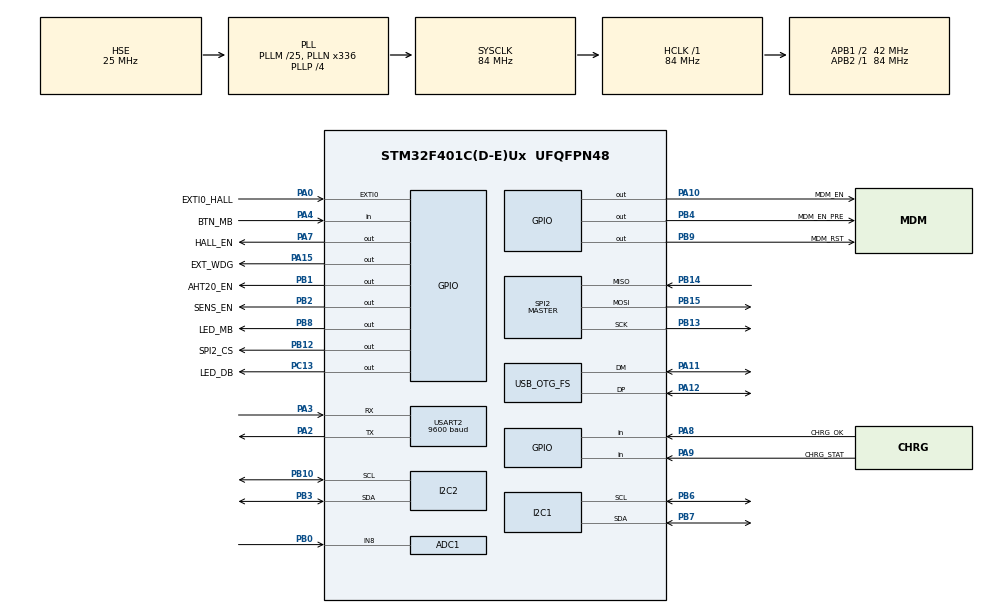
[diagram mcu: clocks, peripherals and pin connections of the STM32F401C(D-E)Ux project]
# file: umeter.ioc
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ADC1.Channel-0\#ChannelRegularConversion=ADC_CHANNEL_8
ADC1.NbrOfConversion=1
ADC1.NbrOfConversionFlag=1
ADC1.Rank-0\#ChannelRegularConversion=1
ADC1.SamplingTime-0\#ChannelRegularConversion=ADC_SAMPLETIME_3CYCLES
ADC1.master=1
Dma.Request0=USART2_RX
Dma.Request1=USART2_TX
Dma.USART2_RX.0.Direction=DMA_PERIPH_TO_MEMORY
Dma.USART2_RX.0.FIFOMode=DMA_FIFOMODE_DISABLE
Dma.USART2_RX.0.Instance=DMA1_Stream5
Dma.USART2_RX.0.MemDataAlignment=DMA_MDATAALIGN_BYTE
Dma.USART2_RX.0.MemInc=DMA_MINC_ENABLE
Dma.USART2_RX.0.Mode=DMA_NORMAL
Dma.USART2_RX.0.PeriphDataAlignment=DMA_PDATAALIGN_BYTE
Dma.USART2_RX.0.PeriphInc=DMA_PINC_DISABLE
Dma.USART2_RX.0.Priority=DMA_PRIORITY_LOW
Dma.USART2_TX.1.Direction=DMA_MEMORY_TO_PERIPH
Dma.USART2_TX.1.FIFOMode=DMA_FIFOMODE_DISABLE
Dma.USART2_TX.1.Instance=DMA1_Stream6
Dma.USART2_TX.1.MemDataAlignment=DMA_MDATAALIGN_BYTE
Dma.USART2_TX.1.MemInc=DMA_MINC_ENABLE
Dma.USART2_TX.1.Mode=DMA_NORMAL
Dma.USART2_TX.1.PeriphDataAlignment=DMA_PDATAALIGN_BYTE
Dma.USART2_TX.1.PeriphInc=DMA_PINC_DISABLE
Dma.USART2_TX.1.Priority=DMA_PRIORITY_LOW
FREERTOS.INCLUDE_xTaskGetHandle=1
FREERTOS.Tasks01=def,8,128,task_default,Default,NULL,Dynamic,NULL,NULL
FREERTOS.configMINIMAL_STACK_SIZE=64
FREERTOS.configRECORD_STACK_HIGH_ADDRESS=1
FREERTOS.configTOTAL_HEAP_SIZE=20480
FREERTOS.configUSE_NEWLIB_REENTRANT=1
IWDG.Prescaler=IWDG_PRESCALER_128
Mcu.Family=STM32F4
Mcu.Name=STM32F401C(D-E)Ux
Mcu.Package=UFQFPN48
NVIC.DMA1_Stream5_IRQn=true\:5\:0\:false\:false\:true\:true\:false\:true\:true
NVIC.DMA1_Stream6_IRQn=true\:5\:0\:false\:false\:true\:true\:false\:true\:true
NVIC.EXTI0_IRQn=true\:5\:0\:false\:false\:true\:true\:true\:true\:true
NVIC.OTG_FS_IRQn=true\:5\:0\:false\:false\:true\:true\:false\:true\:true
NVIC.PriorityGroup=NVIC_PRIORITYGROUP_4
NVIC.TIM1_UP_TIM10_IRQn=true\:15\:0\:false\:false\:true\:false\:false\:true\:true
NVIC.TimeBase=TIM1_UP_TIM10_IRQn
NVIC.TimeBaseIP=TIM1
NVIC.USART2_IRQn=true\:5\:0\:false\:false\:true\:true\:true\:true\:true
PA0-WKUP.GPIO_Label=EXTI0_HALL
PA0-WKUP.GPIO_ModeDefaultEXTI=GPIO_MODE_IT_FALLING
PA0-WKUP.Signal=GPXTI0
PA10.GPIO_Label=MDM_EN
PA10.Signal=GPIO_Output
PA11.Mode=Device_Only
PA11.Signal=USB_OTG_FS_DM
PA12.Mode=Device_Only
PA12.Signal=USB_OTG_FS_DP
PA13.Mode=Serial_Wire
PA13.Signal=SYS_JTMS-SWDIO
PA14.Mode=Serial_Wire
PA14.Signal=SYS_JTCK-SWCLK
PA15.GPIO_Label=EXT_WDG
PA15.Signal=GPIO_Output
PA2.Mode=Asynchronous
PA2.Signal=USART2_TX
PA3.Mode=Asynchronous
PA3.Signal=USART2_RX
PA4.GPIO_Label=BTN_MB
PA4.Signal=GPIO_Input
PA7.GPIO_Label=HALL_EN
PA7.Signal=GPIO_Output
PA8.GPIO_Label=CHRG_OK
PA8.Signal=GPIO_Input
PA9.GPIO_Label=CHRG_STAT
PA9.Signal=GPIO_Input
PB0.Signal=ADCx_IN8
PB1.GPIO_Label=AHT20_EN
PB1.Signal=GPIO_Output
PB10.Mode=I2C
PB10.Signal=I2C2_SCL
PB12.GPIO_Label=SPI2_CS
PB12.PinState=GPIO_PIN_SET
PB12.Signal=GPIO_Output
PB13.Mode=Full_Duplex_Master
PB13.Signal=SPI2_SCK
PB14.Mode=Full_Duplex_Master
PB14.Signal=SPI2_MISO
PB15.Mode=Full_Duplex_Master
PB15.Signal=SPI2_MOSI
PB2.GPIO_Label=SENS_EN
PB2.Signal=GPIO_Output
PB3.Mode=I2C
PB3.Signal=I2C2_SDA
PB4.GPIO_Label=MDM_EN_PRE
PB4.Signal=GPIO_Output
PB6.Mode=I2C
PB6.Signal=I2C1_SCL
PB7.Mode=I2C
PB7.Signal=I2C1_SDA
PB8.GPIO_Label=LED_MB
PB8.Signal=GPIO_Output
PB9.GPIO_Label=MDM_RST
PB9.Signal=GPIO_Output
PC13-ANTI_TAMP.GPIO_Label=LED_DB
PC13-ANTI_TAMP.Signal=GPIO_Output
PH0\ -\ OSC_IN.Mode=HSE-External-Oscillator
PH0\ -\ OSC_IN.Signal=RCC_OSC_IN
PH1\ -\ OSC_OUT.Mode=HSE-External-Oscillator
PH1\ -\ OSC_OUT.Signal=RCC_OSC_OUT
ProjectManager.HeapSize=0x1
ProjectManager.StackSize=0x1
ProjectManager.TargetToolchain=STM32CubeIDE
RCC.48MHZClocksFreq_Value=48000000
RCC.AHBFreq_Value=84000000
RCC.APB1CLKDivider=RCC_HCLK_DIV2
RCC.APB1Freq_Value=42000000
RCC.APB1TimFreq_Value=84000000
RCC.APB2Freq_Value=84000000
RCC.APB2TimFreq_Value=84000000
RCC.CortexFreq_Value=84000000
RCC.HCLKFreq_Value=84000000
RCC.HSE_VALUE=25000000
RCC.HSI_VALUE=16000000
RCC.LSE_VALUE=32768
RCC.PLLM=25
RCC.PLLN=336
RCC.PLLP=RCC_PLLP_DIV4
RCC.PLLQ=7
RCC.SYSCLKFreq_VALUE=84000000
RCC.SYSCLKSource=RCC_SYSCLKSOURCE_PLLCLK
RCC.VCOOutputFreq_Value=336000000
SH.ADCx_IN8.0=ADC1_IN8,IN8
SPI2.Direction=SPI_DIRECTION_2LINES
SPI2.Mode=SPI_MODE_MASTER
SPI2.VirtualType=VM_MASTER
USART2.BaudRate=9600
USART2.VirtualMode=VM_ASYNC
USB_DEVICE.CLASS_NAME_FS=CDC
USB_DEVICE.VirtualMode-CDC_FS=Cdc
USB_DEVICE.VirtualModeFS=Cdc_FS
USB_OTG_FS.VirtualMode=Device_Only
VP_FREERTOS_VS_CMSIS_V2.Mode=CMSIS_V2
VP_IWDG_VS_IWDG.Mode=IWDG_Activate
VP_SYS_VS_tim1.Mode=TIM1
VP_USB_DEVICE_VS_USB_DEVICE_CDC_FS.Mode=CDC_FS
board=custom

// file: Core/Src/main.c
/* USER CODE BEGIN Header */
/**
  ******************************************************************************
  * @file           : main.c
  * @brief          : Main program body
  ******************************************************************************
  * @attention
  *
  * Copyright (c) 2026 STMicroelectronics.
  * All rights reserved.
  *
  * This software is licensed under terms that can be found in the LICENSE file
  * in the root directory of this software component.
  * If no LICENSE file comes with this software, it is provided AS-IS.
  *
  ******************************************************************************
  */
/* USER CODE END Header */
#include "main.h"
#include "cmsis_os.h"
#include "usb_device.h"

/* USER CODE BEGIN Includes */

#include <string.h>

#include "timers.h"

#include "appiface.h"
#include "avoltage.h"
#include "sim800l.h"
#include "ptasks.h"
#include "button.h"
#include "siface.h"
#include "logger.h"
#include "params.h"
#include "atomic.h"
#include "mqueue.h"
#include "w25q_s.h"
#include "as5600.h"
#include "aht20.h"
#include "ota.h"
#include "fws.h"

/* USER CODE END Includes */

/* USER CODE BEGIN PD */

#define UART_BUFFER_SIZE \
	(SIM800L_UART_BUFFER_SIZE > SIFACE_UART_BUFFER_SIZE ? \
	SIM800L_UART_BUFFER_SIZE : SIFACE_UART_BUFFER_SIZE)

#define STACK_COLOR_WORD 0xACACACAC

/* USER CODE END PD */

ADC_HandleTypeDef hadc1;

I2C_HandleTypeDef hi2c1;
I2C_HandleTypeDef hi2c2;

IWDG_HandleTypeDef hiwdg;

SPI_HandleTypeDef hspi2;

UART_HandleTypeDef huart2;
DMA_HandleTypeDef hdma_usart2_rx;
DMA_HandleTypeDef hdma_usart2_tx;

/* Definitions for def */
osThreadId_t defHandle;
const osThreadAttr_t def_attributes = {
  .name = "def",
  .stack_size = 128 * 4,
  .priority = (osPriority_t) osPriorityLow,
};
/* USER CODE BEGIN PV */

volatile struct bl_params bl __attribute__((section(".noinit")));

StaticTimer_t hz_timer_buf;
TimerHandle_t hz_timer_handle;

volatile uint32_t timestamp;

uint8_t ub_mod[UART_BUFFER_SIZE];
uint8_t ub_sif[UART_BUFFER_SIZE];

params_t params;
struct button btn;
struct siface siface;
struct logger logger;
struct w25q_s mem;
struct sim800l mod;
struct ota ota;
struct aht20 aht;
struct as5600 pot;
struct counter cnt;
struct avoltage avlt;
struct appiface appif;

struct actual actual;
struct sensors sens;
struct ecounter ecnt;
struct app app;
struct system sys;

volatile int init_done = 0;

extern const uint32_t *_ebss;
extern const uint32_t *_estack;
extern const uint32_t *_app;
#define APP_ADDRESS ((uint32_t) &_app)

/* USER CODE END PV */

void SystemClock_Config(void);
static void MX_GPIO_Init(void);
static void MX_DMA_Init(void);
static void MX_SPI2_Init(void);
static void MX_ADC1_Init(void);
static void MX_I2C1_Init(void);
static void MX_I2C2_Init(void);
static void MX_IWDG_Init(void);
static void MX_USART2_UART_Init(void);
void task_default(void *argument);

/* USER CODE BEGIN 0 */

void usb_cdc_rx_callback(uint8_t* buf, size_t size)
{
	siface_rx_irq(&siface, (const char *) buf, size);
}

void usb_cdc_tx_callback(void)
{
	siface_tx_irq(&siface);
}

void HAL_UARTEx_RxEventCallback(UART_HandleTypeDef *huart, uint16_t size)
{
	if (HAL_UARTEx_GetRxEventType(huart) == HAL_UART_RXEVENT_HT)
		return;

//	if (huart == &huart1)
//	{
//		siface_rx_irq(&siface, (const char *) ub_sif, size);
//		HAL_UARTEx_ReceiveToIdle_DMA(huart, ub_sif, UART_BUFFER_SIZE);
//	}
	if (huart == &huart2)
	{
		sim800l_irq(&mod, (const char *) ub_mod, size);
		HAL_UARTEx_ReceiveToIdle_DMA(huart, ub_mod, UART_BUFFER_SIZE);
	}
}

void HAL_UART_ErrorCallback(UART_HandleTypeDef *huart)
{
//	if (huart == &huart1)
//	{
//		HAL_UARTEx_ReceiveToIdle_DMA(huart, ub_sif, UART_BUFFER_SIZE);
//	}
	if (huart == &huart2)
	{
		HAL_UARTEx_ReceiveToIdle_DMA(huart, ub_mod, UART_BUFFER_SIZE);
	}
}

void HAL_UART_TxCpltCallback(UART_HandleTypeDef *huart)
{
//	if (huart == &huart1)
//	{
//		siface_tx_irq(&siface);
//	}
}

void HAL_GPIO_EXTI_Callback(uint16_t GPIO_Pin)
{
	if (!init_done)
		return;

	if (GPIO_Pin == EXTI0_HALL_Pin)
	{
		counter_irq(&cnt);
	}
}

void hz_callback(TimerHandle_t timer)
{
	atomic_inc(&timestamp);
}

void btn_callback(void)
{
	if (!init_done)
		return;

	task_sensors_notify(&sens);
}

//
static void stack_color(void)
{
	volatile uint32_t *p, *end;

	p = (uint32_t *) &_ebss;
	end = (uint32_t *) __get_MSP();
	p++;

	while (p < end)
	{
		*p = STACK_COLOR_WORD;
		p++;
	}
}

//
static size_t stack_size(void)
{
	volatile uint32_t *p, *end;

	p = (uint32_t *) &_ebss;
	end = (uint32_t *) &_estack;
	p++;

	while ((p < end) && (*p == STACK_COLOR_WORD))
		p++;

	return (size_t) end - (size_t) p;
}

/* USER CODE END 0 */

int main(void)
{

  /* USER CODE BEGIN 1 */

  SCB->VTOR = APP_ADDRESS;
  __enable_irq();

  //
  stack_color();

  /* USER CODE END 1 */

  /* MCU Configuration--------------------------------------------------------*/

  /* Reset of all peripherals, Initializes the Flash interface and the Systick. */
  HAL_Init();

  /* Configure the system clock */
  SystemClock_Config();

  /* Initialize all configured peripherals */
  MX_GPIO_Init();
  MX_DMA_Init();
  MX_SPI2_Init();
  MX_ADC1_Init();
  MX_I2C1_Init();
  MX_I2C2_Init();
  MX_IWDG_Init();
  MX_USART2_UART_Init();
  /* USER CODE BEGIN 2 */

  // Deinitialization
  HAL_I2C_DeInit(&hi2c2);

  //
  //DWT_cnt_init();

  //
  params_init();
  params_get(&params);

  /* todo */
  // SIM800L power
  HAL_GPIO_WritePin(MDM_EN_PRE_GPIO_Port, MDM_EN_PRE_Pin, GPIO_PIN_SET);
  HAL_GPIO_WritePin(MDM_EN_GPIO_Port, MDM_EN_Pin, GPIO_PIN_SET);

  //
  memset(&actual, 0, sizeof(actual));
  actual.mutex = xSemaphoreCreateMutex();

  //
  appif.timestamp = &timestamp;
  appif.params = &params;
  appif.actual = &actual;
  appif.bl = &bl;
  memcpy(&appif.uparams, &params, sizeof(params));

  //
  button_init(&btn, BTN_MB_GPIO_Port, BTN_MB_Pin, btn_callback);
  siface_init(&siface, 32, appiface, &appif);
  logger_init(&logger, &siface);
  w25q_s_init(&mem, &hspi2, SPI2_CS_GPIO_Port, SPI2_CS_Pin);
  sim800l_init(&mod, &huart2, MDM_RST_GPIO_Port, MDM_RST_Pin, params.apn);
  ota_init(&ota, &mod, &mem, params.secret, params.url_ota);
  as5600_init(&pot, &hi2c1, MX_I2C1_Init, SENS_EN_GPIO_Port,
		  SENS_EN_Pin /* 0x6C */);
  aht20_init(&aht, &hi2c2, MX_I2C2_Init, AHT20_EN_GPIO_Port,
		  AHT20_EN_Pin /* 0x70 */);
  counter_init(&cnt, HALL_EN_GPIO_Port, HALL_EN_Pin);
  avoltage_init(&avlt, &hadc1, 2);

  //
  mqueue_init(&mem);

  // sens
  memset(&sens, 0, sizeof(sens));
  sens.qtmp = mqueue_create(SENSORS_QUEUE_SECNUM);
  sens.qhum = mqueue_create(SENSORS_QUEUE_SECNUM);
  sens.qang = mqueue_create(SENSORS_QUEUE_SECNUM);
  sens.avlt = &avlt;
  sens.pot = &pot;
  sens.aht = &aht;
  sens.timestamp = &timestamp;
  sens.params = &params;
  sens.actual = &actual;
  sens.events = 0;

  // ecnt
  memset(&ecnt, 0, sizeof(ecnt));
  ecnt.qec_avg = mqueue_create(SENSORS_QUEUE_SECNUM);
  ecnt.qec_max = mqueue_create(SENSORS_QUEUE_SECNUM);
  ecnt.qec_min = mqueue_create(SENSORS_QUEUE_SECNUM);
  ecnt.cnt = &cnt;
  ecnt.timestamp = &timestamp;
  ecnt.params = &params;
  ecnt.actual = &actual;

  // app
  memset(&app, 0, sizeof(app));
  app.timestamp = &timestamp;
  app.params = &params;
  app.sens = &sens;
  app.ecnt = &ecnt;
  app.mod = &mod;
  app.bl = &bl;

  // sys
  memset(&sys, 0, sizeof(sys));
  sys.ext_pin = EXT_WDG_Pin;
  sys.ext_port = EXT_WDG_GPIO_Port;
  sys.wdg = &hiwdg;
  sys.params = &params;
  sys.bl = &bl;

  //
  /* todo: replace with USB */
  //HAL_UARTEx_ReceiveToIdle_DMA(&huart1, ub_sif, UART_BUFFER_SIZE);
  HAL_UARTEx_ReceiveToIdle_DMA(&huart2, ub_mod, UART_BUFFER_SIZE);

  /* USER CODE END 2 */

  /* Init scheduler */
  osKernelInitialize();

  /* USER CODE BEGIN RTOS_TIMERS */
  /* start timers, add new ones, ... */

  hz_timer_handle = xTimerCreateStatic("hz", pdMS_TO_TICKS(1000), pdTRUE,
		  (void *) 0, hz_callback, &hz_timer_buf);
  xTimerStart(hz_timer_handle, 0);

  /* USER CODE END RTOS_TIMERS */

  /* Create the thread(s) */
  /* creation of def */
  defHandle = osThreadNew(task_default, NULL, &def_attributes);

  /* USER CODE BEGIN RTOS_THREADS */
  /* add threads, ... */

  task_system(&sys);
  task_siface(&siface);
  task_sensors(&sens);
  task_ecounter(&ecnt);
  task_sim800l(&mod);
  task_button(&btn);
  task_ota(&ota);
  task_app(&app);

  // For GPIO interrupts and button (?)
  init_done = 1;

  /* USER CODE END RTOS_THREADS */

  /* USER CODE BEGIN RTOS_EVENTS */
  /* add events, ... */

  //
  sys.main_stack_size = stack_size();

  /* USER CODE END RTOS_EVENTS */

  /* Start scheduler */
  osKernelStart();

  /* We should never get here as control is now taken by the scheduler */

  /* Infinite loop */
  while (1)
  {

  }
}

void SystemClock_Config(void)
{
  RCC_OscInitTypeDef RCC_OscInitStruct = {0};
  RCC_ClkInitTypeDef RCC_ClkInitStruct = {0};

  /** Configure the main internal regulator output voltage
  */
  __HAL_RCC_PWR_CLK_ENABLE();
  __HAL_PWR_VOLTAGESCALING_CONFIG(PWR_REGULATOR_VOLTAGE_SCALE2);

  /** Initializes the RCC Oscillators according to the specified parameters
  * in the RCC_OscInitTypeDef structure.
  */
  RCC_OscInitStruct.OscillatorType = RCC_OSCILLATORTYPE_LSI|RCC_OSCILLATORTYPE_HSE;
  RCC_OscInitStruct.HSEState = RCC_HSE_ON;
  RCC_OscInitStruct.LSIState = RCC_LSI_ON;
  RCC_OscInitStruct.PLL.PLLState = RCC_PLL_ON;
  RCC_OscInitStruct.PLL.PLLSource = RCC_PLLSOURCE_HSE;
  RCC_OscInitStruct.PLL.PLLM = 25;
  RCC_OscInitStruct.PLL.PLLN = 336;
  RCC_OscInitStruct.PLL.PLLP = RCC_PLLP_DIV4;
  RCC_OscInitStruct.PLL.PLLQ = 7;
  if (HAL_RCC_OscConfig(&RCC_OscInitStruct) != HAL_OK)
  {
    Error_Handler();
  }

  /** Initializes the CPU, AHB and APB buses clocks
  */
  RCC_ClkInitStruct.ClockType = RCC_CLOCKTYPE_HCLK|RCC_CLOCKTYPE_SYSCLK
                              |RCC_CLOCKTYPE_PCLK1|RCC_CLOCKTYPE_PCLK2;
  RCC_ClkInitStruct.SYSCLKSource = RCC_SYSCLKSOURCE_PLLCLK;
  RCC_ClkInitStruct.AHBCLKDivider = RCC_SYSCLK_DIV1;
  RCC_ClkInitStruct.APB1CLKDivider = RCC_HCLK_DIV2;
  RCC_ClkInitStruct.APB2CLKDivider = RCC_HCLK_DIV1;

  if (HAL_RCC_ClockConfig(&RCC_ClkInitStruct, FLASH_LATENCY_2) != HAL_OK)
  {
    Error_Handler();
  }
}

static void MX_ADC1_Init(void)
{

  ADC_ChannelConfTypeDef sConfig = {0};

  /** Configure the global features of the ADC (Clock, Resolution, Data Alignment and number of conversion)
  */
  hadc1.Instance = ADC1;
  hadc1.Init.ClockPrescaler = ADC_CLOCK_SYNC_PCLK_DIV4;
  hadc1.Init.Resolution = ADC_RESOLUTION_12B;
  hadc1.Init.ScanConvMode = DISABLE;
  hadc1.Init.ContinuousConvMode = DISABLE;
  hadc1.Init.DiscontinuousConvMode = DISABLE;
  hadc1.Init.ExternalTrigConvEdge = ADC_EXTERNALTRIGCONVEDGE_NONE;
  hadc1.Init.ExternalTrigConv = ADC_SOFTWARE_START;
  hadc1.Init.DataAlign = ADC_DATAALIGN_RIGHT;
  hadc1.Init.NbrOfConversion = 1;
  hadc1.Init.DMAContinuousRequests = DISABLE;
  hadc1.Init.EOCSelection = ADC_EOC_SINGLE_CONV;
  if (HAL_ADC_Init(&hadc1) != HAL_OK)
  {
    Error_Handler();
  }

  /** Configure for the selected ADC regular channel its corresponding rank in the sequencer and its sample time.
  */
  sConfig.Channel = ADC_CHANNEL_8;
  sConfig.Rank = 1;
  sConfig.SamplingTime = ADC_SAMPLETIME_3CYCLES;
  if (HAL_ADC_ConfigChannel(&hadc1, &sConfig) != HAL_OK)
  {
    Error_Handler();
  }

}

static void MX_I2C1_Init(void)
{

  hi2c1.Instance = I2C1;
  hi2c1.Init.ClockSpeed = 100000;
  hi2c1.Init.DutyCycle = I2C_DUTYCYCLE_2;
  hi2c1.Init.OwnAddress1 = 0;
  hi2c1.Init.AddressingMode = I2C_ADDRESSINGMODE_7BIT;
  hi2c1.Init.DualAddressMode = I2C_DUALADDRESS_DISABLE;
  hi2c1.Init.OwnAddress2 = 0;
  hi2c1.Init.GeneralCallMode = I2C_GENERALCALL_DISABLE;
  hi2c1.Init.NoStretchMode = I2C_NOSTRETCH_DISABLE;
  if (HAL_I2C_Init(&hi2c1) != HAL_OK)
  {
    Error_Handler();
  }

}

static void MX_I2C2_Init(void)
{

  hi2c2.Instance = I2C2;
  hi2c2.Init.ClockSpeed = 100000;
  hi2c2.Init.DutyCycle = I2C_DUTYCYCLE_2;
  hi2c2.Init.OwnAddress1 = 0;
  hi2c2.Init.AddressingMode = I2C_ADDRESSINGMODE_7BIT;
  hi2c2.Init.DualAddressMode = I2C_DUALADDRESS_DISABLE;
  hi2c2.Init.OwnAddress2 = 0;
  hi2c2.Init.GeneralCallMode = I2C_GENERALCALL_DISABLE;
  hi2c2.Init.NoStretchMode = I2C_NOSTRETCH_DISABLE;
  if (HAL_I2C_Init(&hi2c2) != HAL_OK)
  {
    Error_Handler();
  }

}

static void MX_IWDG_Init(void)
{

  hiwdg.Instance = IWDG;
  hiwdg.Init.Prescaler = IWDG_PRESCALER_128;
  hiwdg.Init.Reload = 4095;
  if (HAL_IWDG_Init(&hiwdg) != HAL_OK)
  {
    Error_Handler();
  }

}

static void MX_SPI2_Init(void)
{

  /* SPI2 parameter configuration*/
  hspi2.Instance = SPI2;
  hspi2.Init.Mode = SPI_MODE_MASTER;
  hspi2.Init.Direction = SPI_DIRECTION_2LINES;
  hspi2.Init.DataSize = SPI_DATASIZE_8BIT;
  hspi2.Init.CLKPolarity = SPI_POLARITY_LOW;
  hspi2.Init.CLKPhase = SPI_PHASE_1EDGE;
  hspi2.Init.NSS = SPI_NSS_SOFT;
  hspi2.Init.BaudRatePrescaler = SPI_BAUDRATEPRESCALER_2;
  hspi2.Init.FirstBit = SPI_FIRSTBIT_MSB;
  hspi2.Init.TIMode = SPI_TIMODE_DISABLE;
  hspi2.Init.CRCCalculation = SPI_CRCCALCULATION_DISABLE;
  hspi2.Init.CRCPolynomial = 10;
  if (HAL_SPI_Init(&hspi2) != HAL_OK)
  {
    Error_Handler();
  }

}

static void MX_USART2_UART_Init(void)
{

  huart2.Instance = USART2;
  huart2.Init.BaudRate = 9600;
  huart2.Init.WordLength = UART_WORDLENGTH_8B;
  huart2.Init.StopBits = UART_STOPBITS_1;
  huart2.Init.Parity = UART_PARITY_NONE;
  huart2.Init.Mode = UART_MODE_TX_RX;
  huart2.Init.HwFlowCtl = UART_HWCONTROL_NONE;
  huart2.Init.OverSampling = UART_OVERSAMPLING_16;
  if (HAL_UART_Init(&huart2) != HAL_OK)
  {
    Error_Handler();
  }

}

static void MX_DMA_Init(void)
{

  /* DMA controller clock enable */
  __HAL_RCC_DMA1_CLK_ENABLE();

  /* DMA interrupt init */
  /* DMA1_Stream5_IRQn interrupt configuration */
  HAL_NVIC_SetPriority(DMA1_Stream5_IRQn, 5, 0);
  HAL_NVIC_EnableIRQ(DMA1_Stream5_IRQn);
  /* DMA1_Stream6_IRQn interrupt configuration */
  HAL_NVIC_SetPriority(DMA1_Stream6_IRQn, 5, 0);
  HAL_NVIC_EnableIRQ(DMA1_Stream6_IRQn);

}

static void MX_GPIO_Init(void)
{
  GPIO_InitTypeDef GPIO_InitStruct = {0};

  /* GPIO Ports Clock Enable */
  __HAL_RCC_GPIOC_CLK_ENABLE();
  __HAL_RCC_GPIOH_CLK_ENABLE();
  __HAL_RCC_GPIOA_CLK_ENABLE();
  __HAL_RCC_GPIOB_CLK_ENABLE();

  /*Configure GPIO pin Output Level */
  HAL_GPIO_WritePin(LED_DB_GPIO_Port, LED_DB_Pin, GPIO_PIN_RESET);

  /*Configure GPIO pin Output Level */
  HAL_GPIO_WritePin(GPIOA, HALL_EN_Pin|MDM_EN_Pin|EXT_WDG_Pin, GPIO_PIN_RESET);

  /*Configure GPIO pin Output Level */
  HAL_GPIO_WritePin(GPIOB, AHT20_EN_Pin|SENS_EN_Pin|MDM_EN_PRE_Pin|LED_MB_Pin
                          |MDM_RST_Pin, GPIO_PIN_RESET);

  /*Configure GPIO pin Output Level */
  HAL_GPIO_WritePin(SPI2_CS_GPIO_Port, SPI2_CS_Pin, GPIO_PIN_SET);

  /*Configure GPIO pin : LED_DB_Pin */
  GPIO_InitStruct.Pin = LED_DB_Pin;
  GPIO_InitStruct.Mode = GPIO_MODE_OUTPUT_PP;
  GPIO_InitStruct.Pull = GPIO_NOPULL;
  GPIO_InitStruct.Speed = GPIO_SPEED_FREQ_LOW;
  HAL_GPIO_Init(LED_DB_GPIO_Port, &GPIO_InitStruct);

  /*Configure GPIO pin : EXTI0_HALL_Pin */
  GPIO_InitStruct.Pin = EXTI0_HALL_Pin;
  GPIO_InitStruct.Mode = GPIO_MODE_IT_FALLING;
  GPIO_InitStruct.Pull = GPIO_NOPULL;
  HAL_GPIO_Init(EXTI0_HALL_GPIO_Port, &GPIO_InitStruct);

  /*Configure GPIO pins : BTN_MB_Pin CHRG_OK_Pin CHRG_STAT_Pin */
  GPIO_InitStruct.Pin = BTN_MB_Pin|CHRG_OK_Pin|CHRG_STAT_Pin;
  GPIO_InitStruct.Mode = GPIO_MODE_INPUT;
  GPIO_InitStruct.Pull = GPIO_NOPULL;
  HAL_GPIO_Init(GPIOA, &GPIO_InitStruct);

  /*Configure GPIO pins : HALL_EN_Pin MDM_EN_Pin EXT_WDG_Pin */
  GPIO_InitStruct.Pin = HALL_EN_Pin|MDM_EN_Pin|EXT_WDG_Pin;
  GPIO_InitStruct.Mode = GPIO_MODE_OUTPUT_PP;
  GPIO_InitStruct.Pull = GPIO_NOPULL;
  GPIO_InitStruct.Speed = GPIO_SPEED_FREQ_LOW;
  HAL_GPIO_Init(GPIOA, &GPIO_InitStruct);

  /*Configure GPIO pins : AHT20_EN_Pin SENS_EN_Pin SPI2_CS_Pin MDM_EN_PRE_Pin
                           LED_MB_Pin MDM_RST_Pin */
  GPIO_InitStruct.Pin = AHT20_EN_Pin|SENS_EN_Pin|SPI2_CS_Pin|MDM_EN_PRE_Pin
                          |LED_MB_Pin|MDM_RST_Pin;
  GPIO_InitStruct.Mode = GPIO_MODE_OUTPUT_PP;
  GPIO_InitStruct.Pull = GPIO_NOPULL;
  GPIO_InitStruct.Speed = GPIO_SPEED_FREQ_LOW;
  HAL_GPIO_Init(GPIOB, &GPIO_InitStruct);

  /* EXTI interrupt init*/
  HAL_NVIC_SetPriority(EXTI0_IRQn, 5, 0);
  HAL_NVIC_EnableIRQ(EXTI0_IRQn);

}

void task_default(void *argument)
{
  /* init code for USB_DEVICE */
  MX_USB_DEVICE_Init();
  /* USER CODE BEGIN 5 */

  /* todo: move USB init */

  /* Infinite loop */
  for(;;)
  {
    HAL_GPIO_TogglePin(LED_DB_GPIO_Port, LED_DB_Pin);
    osDelay(200);
  }
  /* USER CODE END 5 */
}

void HAL_TIM_PeriodElapsedCallback(TIM_HandleTypeDef *htim)
{
  if (htim->Instance == TIM1) {
    HAL_IncTick();
  }
}

void Error_Handler(void)
{
  __disable_irq();
  while (1)
  {
  }
}
